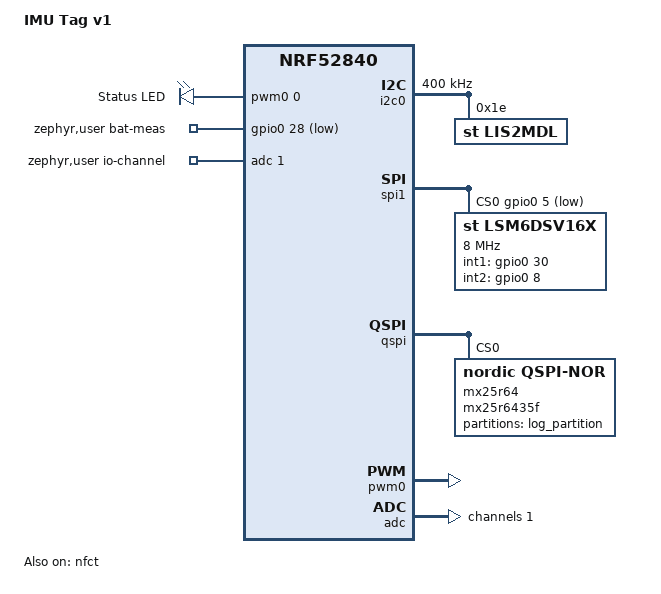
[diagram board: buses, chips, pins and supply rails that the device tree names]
/*
 * Board DTS, IMU Tag v1, PCBA revision 1.1.0
 * Module : E73-2G4M08S1C (nRF52840QIAA)
 * Flash  : MX25R6435F (64 Mbit / 8 MB, QSPI)
 * IMU    : LSM6DSV16X (SPI1, INT1=P0.30, INT2=P0.08)
 * Mag    : LIS2MDL (I2C0)
 * NFC    : antenna on NFC1/NFC2 (P0.09/P0.10)
 */

/dts-v1/;
#include <nordic/nrf52840_qiaa.dtsi>
#include "imu_tag_v1_nrf52840-pinctrl.dtsi"
#include <zephyr/dt-bindings/pwm/pwm.h>
#include <zephyr/dt-bindings/adc/nrf-saadc.h>
#include <zephyr/dt-bindings/regulator/nrf5x.h>
#include <zephyr/dt-bindings/sensor/lsm6dsvxxx.h>

/ {
	model = "IMU Tag v1";
	compatible = "chrs89,imu-tag-v1";

	chosen {
		/*
		 * UART0 is not wired on the PCB. Console and shell go through
		 * Segger RTT (CONFIG_RTT_CONSOLE in prj.conf), so zephyr,console
		 * and zephyr,shell-uart are left unset.
		 */
		zephyr,sram           = &sram0;
		zephyr,flash          = &flash0;
		zephyr,flash-controller = &flash_controller;
		zephyr,code-partition = &slot0_partition;
		/* Nordic Partition Manager "external_flash" region. */
		nordic,pm-ext-flash   = &mx25r64;
	};

	/*
	 * Status LED on PWM0 channel 0 (P1.13 -> R5 -> D2 -> GND, active high).
	 * PWM instead of gpio-leds gives brightness control for fade patterns.
	 */
	pwmleds: pwmleds {
		compatible = "pwm-leds";
		led0_pwm: led_pwm_0 {
			pwms = <&pwm0 0 PWM_MSEC(20) PWM_POLARITY_NORMAL>;
			label = "Status LED";
		};
	};

	/*
	 * Battery sense, GPIO gated:
	 *   VBAT --R2 (820 k)-- BATTERY_PIN (AIN1/P0.03) --R3 (2 M)-- GPIO_BAT_MEAS (P0.28)
	 *   C1 (10 nF) from BATTERY_PIN to GND.
	 * GPIO_BAT_MEAS floats (input) while idle, so the divider draws no
	 * current; firmware drives it low only for the duration of a sample.
	 * Then BATTERY_PIN = VBAT x R3/(R2+R3) = 0.7092 x VBAT.
	 * R2 || R3 = 582 k, hence ADC_GAIN_1_6, internal reference and the
	 * longest acquisition time (40 us) on the channel below.
	 */
	zephyr,user {
		io-channels = <&adc 1>;
		bat-meas-gpios = <&gpio0 28 GPIO_ACTIVE_LOW>;
	};

	aliases {
		led0         = &led0_pwm;
		imu0         = &lsm6dsv16x;
		stream0      = &lsm6dsv16x;
		mag-sensor0  = &lis2mdl;
	};
};

/* UART0: P0.28/P0.29 are used as GPIO_BAT_MEAS and SPI1 MOSI on this PCBA. */
&uart0 { status = "disabled"; };

/*
 * REG1 (main core regulator) in DC/DC mode.
 *
 * Confirmed against the schematic: DCC -> 10 uH inductor -> VDD, with DEC4
 * and DEC6 tied together and commonly decoupled, the Nordic reference
 * wiring for REG1 DC/DC mode. REG0 (the HV stage, VDDH/DCCH/DECUSB) has no
 * inductor and keeps the SoC default.
 *
 * The hardware falls back to LDO on its own at very low load, so DC/DC
 * costs nothing in System OFF and only engages while the radio, the buses
 * or the CPU draw current.
 */
&reg1 {
	regulator-initial-mode = <NRF5X_REG_MODE_DCDC>;
};

/* I2C0: LIS2MDL magnetometer (SDA=P0.07, SCL=P0.12). */
&i2c0 {
	compatible = "nordic,nrf-twim";
	status = "okay";
	pinctrl-0 = <&i2c0_default>;
	pinctrl-1 = <&i2c0_sleep>;
	pinctrl-names = "default", "sleep";
	clock-frequency = <I2C_BITRATE_FAST>;
	/*
	 * twim_nrfx does not call pm_device_runtime_enable() itself. Opt in
	 * per node rather than through CONFIG_PM_DEVICE_RUNTIME_DEFAULT_ENABLE,
	 * which would also catch &gpio0/&gpio1 and break INT2 edge interrupt
	 * delivery (see the prj.conf comment).
	 */
	zephyr,pm-device-runtime-auto;

	lis2mdl: lis2mdl@1e {
		compatible = "st,lis2mdl";
		reg = <0x1e>;
		status = "okay";
	};
};

/* Unused buses. */
&i2c1   { status = "disabled"; };
&spi0   { status = "disabled"; };

/*
 * SPI1: LSM6DSV16X IMU (SCK=P0.02, MOSI=P0.29, MISO=P0.31, CS=P0.05).
 *
 * INT1 (P0.30) carries the FIFO watermark interrupt. INT2 (P0.08) carries
 * the event engine interrupts (tap, free-fall, motion) and is bonded to
 * P1.09 on this PCBA as the System OFF wake pin; P1.09 is left unclaimed
 * here on purpose.
 *
 * SPI1 is deliberately NOT opted into runtime power management, unlike
 * I2C0, QSPI and PWM0: the IMU FIFO runs continuously from boot until
 * System OFF and the bus is needed again within 33 ms of any idle moment.
 * Letting it auto-suspend during extended idle stalled the next FIFO read
 * on resume and starved the watchdog every 66 s (confirmed on device).
 */
&spi1 {
	compatible = "nordic,nrf-spim";
	status = "okay";
	pinctrl-0 = <&spi1_default>;
	pinctrl-1 = <&spi1_sleep>;
	pinctrl-names = "default", "sleep";
	cs-gpios = <&gpio0 5 GPIO_ACTIVE_LOW>;   /* P0.05 */

	lsm6dsv16x: lsm6dsv16x@0 {
		compatible = "st,lsm6dsv16x";
		reg = <0>;
		status = "okay";

		spi-max-frequency = <8000000>;
		spi-cpol;
		spi-cpha;   /* SPI mode 3 */

		int1-gpios = <&gpio0 30 GPIO_ACTIVE_HIGH>;   /* P0.30 */
		int2-gpios = <&gpio0 8 GPIO_ACTIVE_HIGH>;    /* P0.08 */
		/* drdy-pin = <1>: data-ready and FIFO interrupts routed to INT1. */
		drdy-pin = <1>;

		/*
		 * Boot-time defaults; the sample rate is changed at runtime by the
		 * firmware. Values use the binding macros from lsm6dsvxxx.h.
		 * accel-range is in g (binding: 2 = 2 g), gyro-range in dps.
		 */
		accel-odr              = <LSM6DSVXXX_DT_ODR_AT_240Hz>;
		accel-range            = <2>;   /* 2 g */
		gyro-odr               = <LSM6DSVXXX_DT_ODR_AT_240Hz>;
		gyro-range             = <4>;   /* 2000 dps */
		drdy-pulsed;
	};
};

/*
 * QSPI: MX25R6435F 8 MB NOR flash. nrf_qspi_nor reads the JEDEC ID at boot
 * and fails with -ENODEV on mismatch, so jedec-id must match the assembled
 * chip. jedec-id and sfdp-bfp are taken from Nordic's nrf52840dk_nrf52840.dts,
 * which assembles the same chip.
 */
&qspi {
	status = "okay";
	pinctrl-0 = <&qspi_default>;
	pinctrl-1 = <&qspi_sleep>;
	pinctrl-names = "default", "sleep";
	/* See &i2c0 above: nrf_qspi_nor does not self-enable runtime PM. */
	zephyr,pm-device-runtime-auto;

	mx25r64: mx25r6435f@0 {
		compatible = "nordic,qspi-nor";
		reg = <0>;
		sck-frequency = <8000000>;

		/* JEDEC ID: C2h = Macronix, 28h = MX25R, 17h = 64 Mbit */
		jedec-id = [c2 28 17];

		sfdp-bfp = [
			e5 20 f1 ff  ff ff ff 03  44 eb 08 6b  08 3b 04 bb
			ee ff ff ff  ff ff 00 ff  ff ff 00 ff  0c 20 0f 52
			10 d8 00 ff  23 72 f5 00  82 ed 04 cc  44 83 68 44
			30 b0 30 b0  f7 c4 d5 5c  00 be 29 ff  f0 d0 ff ff
		];

		size = <67108864>;    /* 64 Mbit in bits */
		has-dpd;
		/* MX25R6435F datasheet deep power-down timing. */
		t-enter-dpd = <10000>;  /* 10 us */
		t-exit-dpd  = <35000>;  /* 35 us */

		/* The whole chip as one partition; no firmware user yet. */
		partitions {
			compatible = "fixed-partitions";
			#address-cells = <1>;
			#size-cells = <1>;

			log_partition: partition@0 {
				label = "log_partition";
				reg = <0x000000 0x800000>;  /* 8 MB */
			};
		};
	};
};

/* GPIO */
&gpiote { status = "okay"; };
&gpio0  { status = "okay"; };
&gpio1  { status = "okay"; };

/* PWM0: status LED brightness control (OUT0 = P1.13). */
&pwm0 {
	status = "okay";
	pinctrl-0 = <&pwm0_default>;
	pinctrl-1 = <&pwm0_sleep>;
	pinctrl-names = "default", "sleep";
	/*
	 * See &i2c0 above: pwm_nrfx does not self-enable runtime PM. This is
	 * what makes the LED module's pm_device_runtime_get/put calls effective.
	 */
	zephyr,pm-device-runtime-auto;
};

/*
 * SAADC: battery voltage sense on AIN1 (P0.03), single ended, internal
 * 0.6 V reference with 1/6 gain = 3.6 V full scale. See zephyr,user above
 * for the divider.
 */
&adc {
	status = "okay";
	#address-cells = <1>;
	#size-cells = <0>;

	channel@1 {
		reg = <1>;
		zephyr,gain = "ADC_GAIN_1_6";
		zephyr,reference = "ADC_REF_INTERNAL";
		zephyr,acquisition-time = <ADC_ACQ_TIME(ADC_ACQ_TIME_MICROSECONDS, 40)>;
		zephyr,input-positive = <NRF_SAADC_AIN1>;
		zephyr,resolution = <12>;
	};
};

/*
 * NFCT: NFC wake-up and LE Secure Connections OOB pairing. The antenna is
 * on NFC1/NFC2 (P0.09/P0.10), which nothing else claims, so no UICR
 * pin-mode override is needed.
 */
&nfct   { status = "okay"; };

/* Internal flash partitions: MCUboot plus two image slots and settings. */
&flash0 {
	partitions {
		compatible = "fixed-partitions";
		#address-cells = <1>;
		#size-cells = <1>;

		boot_partition: partition@0 {
			label = "mcuboot";
			reg = <0x00000000 0x0000C000>;  /* 48 KB */
		};

		slot0_partition: partition@c000 {
			label = "image-0";
			reg = <0x0000C000 0x00076000>;  /* 472 KB */
		};

		slot1_partition: partition@82000 {
			label = "image-1";
			reg = <0x00082000 0x00076000>;  /* 472 KB */
		};

		storage_partition: partition@f8000 {
			label = "storage";
			reg = <0x000F8000 0x00008000>;  /* 32 KB */
		};
	};
};
